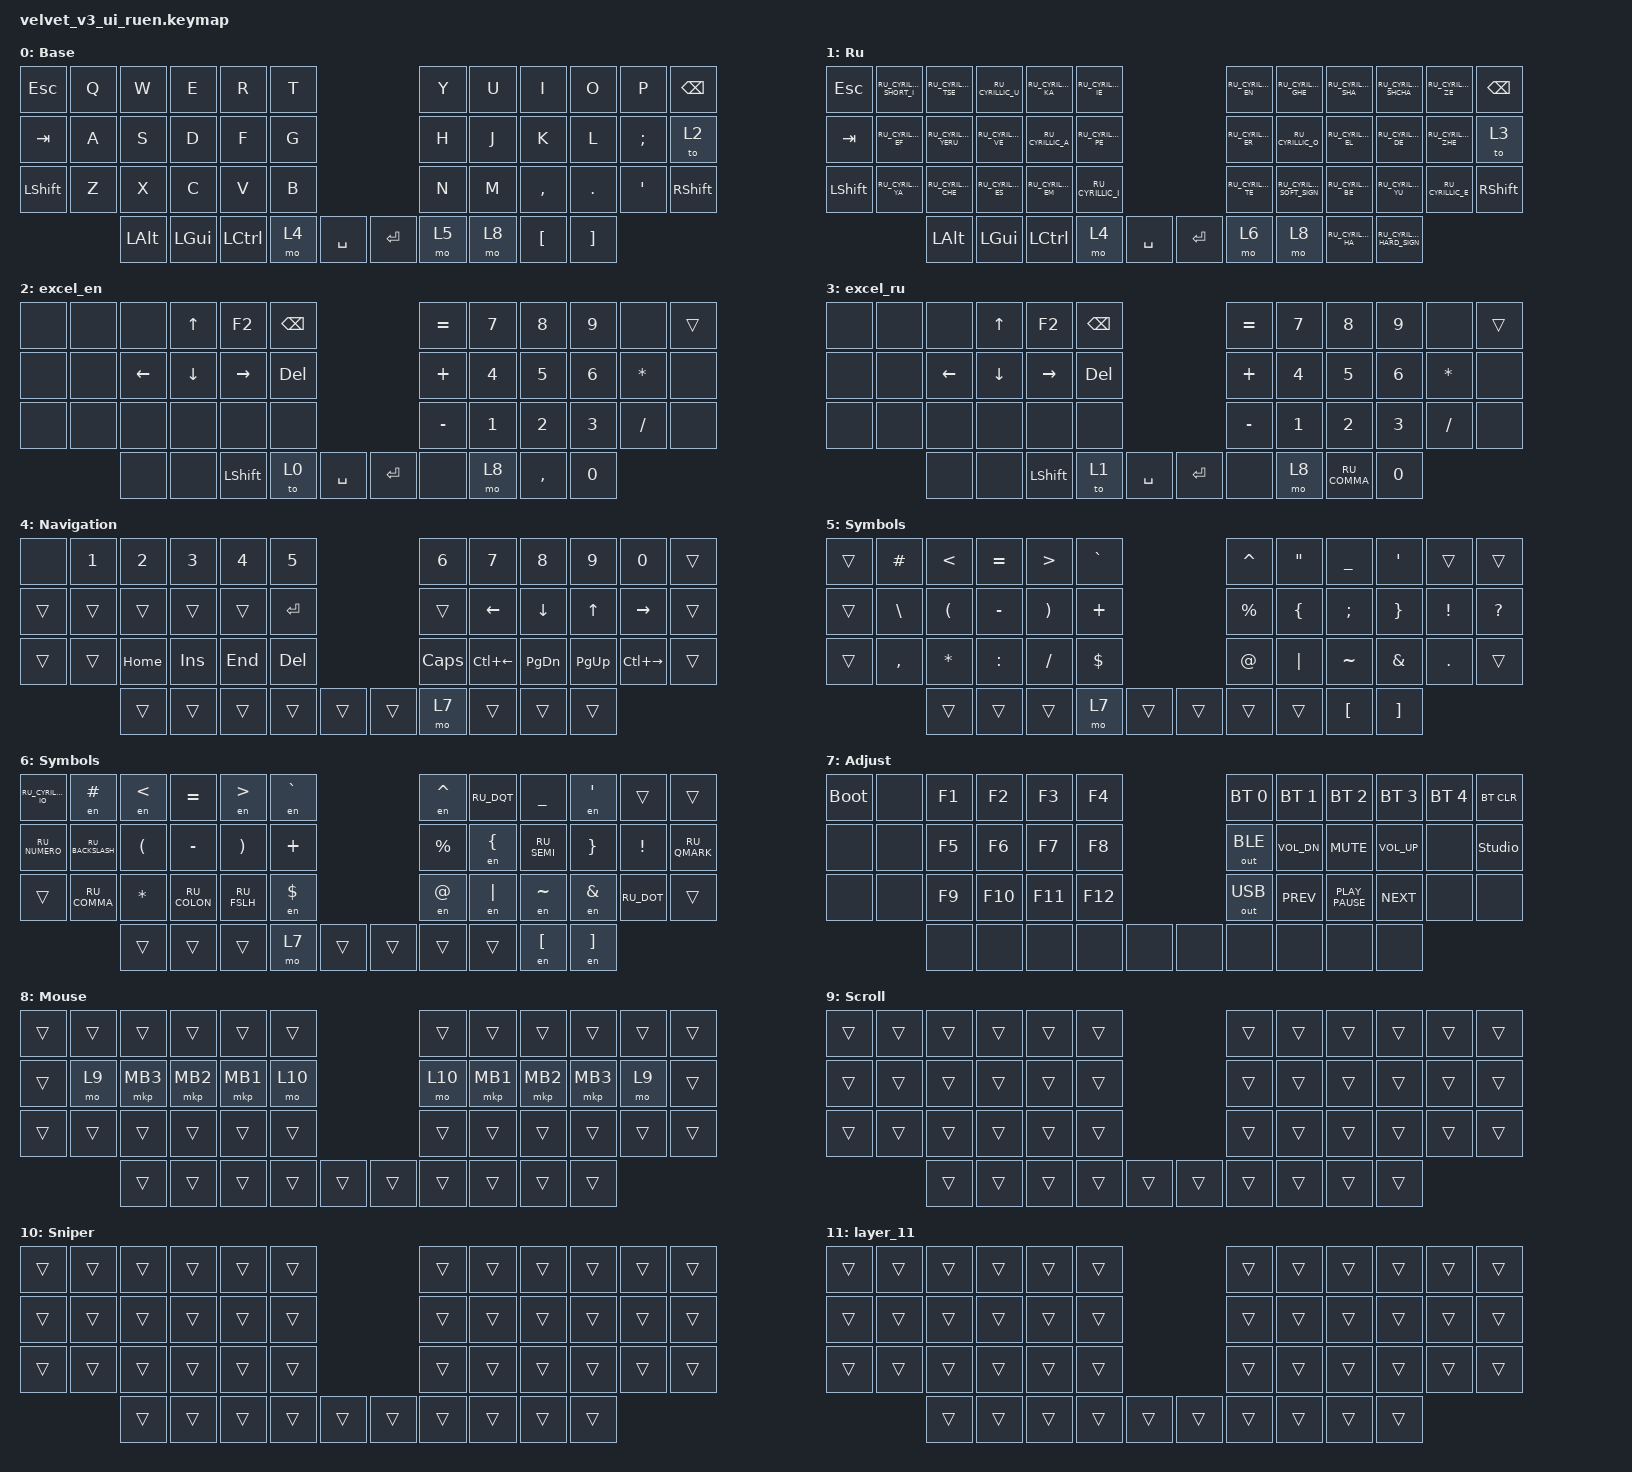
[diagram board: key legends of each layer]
#include "keys_ru.h"
#include <dt-bindings/zmk/input_transform.h>
#include <input/processors.dtsi>
#include <zephyr/dt-bindings/input/input-event-codes.h>
#include <behaviors.dtsi>
#include <dt-bindings/zmk/bt.h>
#include <dt-bindings/zmk/keys.h>
#include <dt-bindings/zmk/outputs.h>
#include <dt-bindings/zmk/pointing.h>

/ {
    behaviors {
        cap_sen: cap_sen {
            compatible = "zmk,behavior-hold-tap";
            label = "CAP_SEN";
            bindings = <&mo>, <&mkp>;

            #binding-cells = <2>;
            tapping-term-ms = <150>;
            hold-while-undecided;
        };
    };

    combos {
        compatible = "zmk,combos";

        cmben {
            bindings = <&layer_en>;
            key-positions = <3 4>;
            layers = <1>;
        };

        cmbru {
            bindings = <&layer_ru>;
            key-positions = <3 4>;
            layers = <0>;
        };

        notes {
            bindings = <&kp RS(F2)>;
            key-positions = <2 4>;
        };

        Copy {
            bindings = <&kp LC(C)>;
            key-positions = <38 27>;
        };

        Paste {
            bindings = <&kp LC(V)>;
            key-positions = <38 28>;
        };

        Cut {
            bindings = <&kp LC(X)>;
            key-positions = <38 26>;
        };

        Undo {
            bindings = <&kp LC(Z)>;
            key-positions = <38 25>;
        };

        Select {
            bindings = <&kp LC(A)>;
            key-positions = <38 13>;
        };

        Save {
            bindings = <&kp LC(S)>;
            key-positions = <38 14>;
        };

        Filldown {
            bindings = <&kp LC(D)>;
            key-positions = <38 15>;
        };

        Find {
            bindings = <&kp LC(F)>;
            key-positions = <38 16>;
        };

        Print {
            bindings = <&kp LC(P)>;
            key-positions = <38 10>;
        };

        Lock {
            bindings = <&kp LG(L)>;
            key-positions = <38 21>;
        };

        SaveAs {
            bindings = <&kp LS(LC(S))>;
            key-positions = <24 14 38>;
        };

        TaskManager {
            bindings = <&kp LC(LA(DEL))>;
            key-positions = <38 36 11>;
        };
    };

    macros {
        to_ru: to_ru {
            compatible = "zmk,behavior-macro";
            #binding-cells = <0>;
            bindings = <&kp LS(LC(N2))>;
            label = "TO_RU";
            wait-ms = <0>;
            tap-ms = <30>;
        };

        to_en: to_en {
            compatible = "zmk,behavior-macro";
            #binding-cells = <0>;
            bindings = <&kp LS(LC(N1))>;
            label = "TO_EN";
            wait-ms = <0>;
            tap-ms = <30>;
        };

        layer_en: layer_en {
            compatible = "zmk,behavior-macro";
            #binding-cells = <0>;
            bindings = <&to 0 &to_en>;
            label = "LAYER_EN";
            wait-ms = <0>;
            tap-ms = <30>;
        };

        layer_ru: layer_ru {
            compatible = "zmk,behavior-macro";
            #binding-cells = <0>;
            bindings = <&to 1 &to_ru>;
            label = "LAYER_RU";
            tap-ms = <30>;
            wait-ms = <0>;
        };

        en: en {
            compatible = "zmk,behavior-macro-one-param";
            #binding-cells = <1>;
            bindings =
                <&to_en>,
                <&macro_press>,
                <&macro_param_1to1 &kp MACRO_PLACEHOLDER>,
                <&macro_pause_for_release>,
                <&macro_release>,
                <&macro_param_1to1 &kp MACRO_PLACEHOLDER>,
                <&macro_tap>,
                <&to_ru>;

            label = "EN";
            wait-ms = <0>;
            tap-ms = <30>;
        };
    };

    keymap {
        compatible = "zmk,keymap";

        en {
            bindings = <
&kp ESC    &kp Q  &kp W     &kp E     &kp R      &kp T                        &kp Y  &kp U  &kp I      &kp O     &kp P     &kp BSPC
&kp TAB    &kp A  &kp S     &kp D     &kp F      &kp G                        &kp H  &kp J  &kp K      &kp L     &kp SEMI  &to 2
&kp LSHFT  &kp Z  &kp X     &kp C     &kp V      &kp B                        &kp N  &kp M  &kp COMMA  &kp DOT   &kp SQT   &kp RSHFT
                  &kp LALT  &kp LGUI  &kp LCTRL  &mo 4  &kp SPACE    &kp RET  &mo 5  &mo 8  &kp LBKT   &kp RBKT
            >;

            display-name = "Base";
        };

        ru {
            display-name = "Ru";
            bindings = <
&kp ESC    &kp RU_CYRILLIC_SHORT_I  &kp RU_CYRILLIC_TSE   &kp RU_CYRILLIC_U   &kp RU_CYRILLIC_KA  &kp RU_CYRILLIC_IE                        &kp RU_CYRILLIC_EN  &kp RU_CYRILLIC_GHE        &kp RU_CYRILLIC_SHA  &kp RU_CYRILLIC_SHCHA      &kp RU_CYRILLIC_ZE   &kp BSPC
&kp TAB    &kp RU_CYRILLIC_EF       &kp RU_CYRILLIC_YERU  &kp RU_CYRILLIC_VE  &kp RU_CYRILLIC_A   &kp RU_CYRILLIC_PE                        &kp RU_CYRILLIC_ER  &kp RU_CYRILLIC_O          &kp RU_CYRILLIC_EL   &kp RU_CYRILLIC_DE         &kp RU_CYRILLIC_ZHE  &to 3
&kp LSHFT  &kp RU_CYRILLIC_YA       &kp RU_CYRILLIC_CHE   &kp RU_CYRILLIC_ES  &kp RU_CYRILLIC_EM  &kp RU_CYRILLIC_I                         &kp RU_CYRILLIC_TE  &kp RU_CYRILLIC_SOFT_SIGN  &kp RU_CYRILLIC_BE   &kp RU_CYRILLIC_YU         &kp RU_CYRILLIC_E    &kp RSHFT
                                    &kp LALT              &kp LGUI            &kp LCTRL           &mo 4               &kp SPACE    &kp RET  &mo 6               &mo 8                      &kp RU_CYRILLIC_HA   &kp RU_CYRILLIC_HARD_SIGN
            >;
        };

        excel_en {
            bindings = <
&none  &none  &none     &kp UP    &kp F2     &kp BACKSPACE                        &kp EQUAL  &kp NUMBER_7  &kp NUMBER_8  &kp NUMBER_9  &none     &trans
&none  &none  &kp LEFT  &kp DOWN  &kp RIGHT  &kp DEL                              &kp PLUS   &kp NUMBER_4  &kp NUMBER_5  &kp NUMBER_6  &kp STAR  &none
&none  &none  &none     &none     &none      &none                                &kp MINUS  &kp NUMBER_1  &kp NUMBER_2  &kp NUMBER_3  &kp FSLH  &none
              &none     &none     &kp LSHFT  &to 0          &kp SPACE    &kp RET  &none      &mo 8         &kp COMMA     &kp NUMBER_0
            >;
        };

        excel_ru {
            bindings = <
&none  &none  &none     &kp UP    &kp F2     &kp BACKSPACE                        &kp EQUAL  &kp NUMBER_7  &kp NUMBER_8  &kp NUMBER_9  &none     &trans
&none  &none  &kp LEFT  &kp DOWN  &kp RIGHT  &kp DEL                              &kp PLUS   &kp NUMBER_4  &kp NUMBER_5  &kp NUMBER_6  &kp STAR  &none
&none  &none  &none     &none     &none      &none                                &kp MINUS  &kp NUMBER_1  &kp NUMBER_2  &kp NUMBER_3  &kp FSLH  &none
              &none     &none     &kp LSHFT  &to 1          &kp SPACE    &kp RET  &none      &mo 8         &kp RU_COMMA  &kp NUMBER_0
            >;
        };

        nav {
            bindings = <
&none   &kp N1  &kp N2    &kp N3   &kp N4   &kp N5                     &kp N6    &kp N7        &kp N8         &kp N9       &kp N0         &trans
&trans  &trans  &trans    &trans   &trans   &kp RET                    &trans    &kp LEFT      &kp DOWN       &kp UP       &kp RIGHT      &trans
&trans  &trans  &kp HOME  &kp INS  &kp END  &kp DEL                    &kp CLCK  &kp LC(LEFT)  &kp PAGE_DOWN  &kp PAGE_UP  &kp LC(RIGHT)  &trans
                &trans    &trans   &trans   &trans   &trans    &trans  &mo 7     &trans        &trans         &trans
            >;

            display-name = "Navigation";
        };

        sym_en {
            bindings = <
&trans  &kp HASH   &kp LT    &kp EQUAL  &kp GT    &kp GRAVE                    &kp CARET  &kp DQT   &kp UNDER  &kp SQT   &trans    &trans
&trans  &kp BSLH   &kp LPAR  &kp MINUS  &kp RPAR  &kp PLUS                     &kp PRCNT  &kp LBRC  &kp SEMI   &kp RBRC  &kp EXCL  &kp QUESTION
&trans  &kp COMMA  &kp STAR  &kp COLON  &kp FSLH  &kp DLLR                     &kp AT     &kp PIPE  &kp TILDE  &kp AMPS  &kp DOT   &trans
                   &trans    &trans     &trans    &mo 7      &trans    &trans  &trans     &trans    &kp LBKT   &kp RBKT
            >;

            display-name = "Symbols";
        };

        sym_ru {
            display-name = "Symbols";
            bindings = <
&kp RU_CYRILLIC_IO  &en HASH          &en LT    &kp EQUAL     &en GT       &en GRAVE                    &en CARET  &kp RU_DQT  &kp UNDER    &en SQT   &trans      &trans
&kp RU_NUMERO       &kp RU_BACKSLASH  &kp LPAR  &kp MINUS     &kp RPAR     &kp PLUS                     &kp PRCNT  &en LBRC    &kp RU_SEMI  &kp RBRC  &kp EXCL    &kp RU_QMARK
&trans              &kp RU_COMMA      &kp STAR  &kp RU_COLON  &kp RU_FSLH  &en DLLR                     &en AT     &en PIPE    &en TILDE    &en AMPS  &kp RU_DOT  &trans
                                      &trans    &trans        &trans       &mo 7      &trans    &trans  &trans     &trans      &en LBKT     &en RBKT
            >;
        };

        adj {
            bindings = <
&bootloader  &none  &kp F1  &kp F2   &kp F3   &kp F4                   &bt BT_SEL 0  &bt BT_SEL 1  &bt BT_SEL 2      &bt BT_SEL 3  &bt BT_SEL 4  &bt BT_CLR
&none        &none  &kp F5  &kp F6   &kp F7   &kp F8                   &out OUT_BLE  &kp C_VOL_DN  &kp K_MUTE        &kp C_VOL_UP  &none         &studio_unlock
&none        &none  &kp F9  &kp F10  &kp F11  &kp F12                  &out OUT_USB  &kp K_PREV    &kp K_PLAY_PAUSE  &kp K_NEXT    &none         &none
                    &none   &none    &none    &none    &none    &none  &none         &none         &none             &none
            >;

            display-name = "Adjust";
        };

        mouse {
            bindings = <
&trans  &trans  &trans    &trans    &trans    &trans                    &trans  &trans    &trans    &trans    &trans  &trans
&trans  &mo 9   &mkp MB3  &mkp MB2  &mkp MB1  &mo 10                    &mo 10  &mkp MB1  &mkp MB2  &mkp MB3  &mo 9   &trans
&trans  &trans  &trans    &trans    &trans    &trans                    &trans  &trans    &trans    &trans    &trans  &trans
                &trans    &trans    &trans    &trans  &trans    &trans  &trans  &trans    &trans    &trans
            >;

            display-name = "Mouse";
        };

        scroll {
            bindings = <
&trans  &trans  &trans  &trans  &trans  &trans                    &trans  &trans  &trans  &trans  &trans  &trans
&trans  &trans  &trans  &trans  &trans  &trans                    &trans  &trans  &trans  &trans  &trans  &trans
&trans  &trans  &trans  &trans  &trans  &trans                    &trans  &trans  &trans  &trans  &trans  &trans
                &trans  &trans  &trans  &trans  &trans    &trans  &trans  &trans  &trans  &trans
            >;

            display-name = "Scroll";
        };

        sniper {
            bindings = <
&trans  &trans  &trans  &trans  &trans  &trans                    &trans  &trans  &trans  &trans  &trans  &trans
&trans  &trans  &trans  &trans  &trans  &trans                    &trans  &trans  &trans  &trans  &trans  &trans
&trans  &trans  &trans  &trans  &trans  &trans                    &trans  &trans  &trans  &trans  &trans  &trans
                &trans  &trans  &trans  &trans  &trans    &trans  &trans  &trans  &trans  &trans
            >;

            display-name = "Sniper";
        };

        layer_11 {
            bindings = <
&trans  &trans  &trans  &trans  &trans  &trans                    &trans  &trans  &trans  &trans  &trans  &trans
&trans  &trans  &trans  &trans  &trans  &trans                    &trans  &trans  &trans  &trans  &trans  &trans
&trans  &trans  &trans  &trans  &trans  &trans                    &trans  &trans  &trans  &trans  &trans  &trans
                &trans  &trans  &trans  &trans  &trans    &trans  &trans  &trans  &trans  &trans
            >;
        };
    };
};

&trackball { cpi = <1000>; };

&trackball_listener {
    input-processors = <&zip_xy_scaler 9 20>;

    scroller {
        layers = <7>;
        input-processors =
            <&zip_xy_transform INPUT_TRANSFORM_Y_INVERT>,
            <&zip_xy_scaler 1 32>,
            <&zip_xy_to_scroll_mapper>;
    };

    sniper {
        layers = <8>;
        input-processors = <&zip_xy_scaler 1 4>;
    };
};
